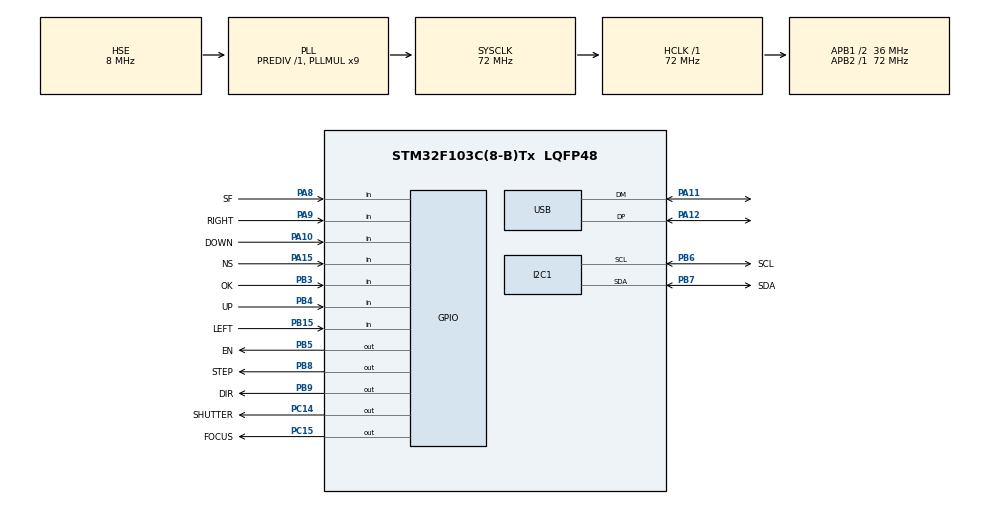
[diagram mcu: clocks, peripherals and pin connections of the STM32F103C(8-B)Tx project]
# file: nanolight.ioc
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Mcu.Family=STM32F1
Mcu.Name=STM32F103C(8-B)Tx
Mcu.Package=LQFP48
NVIC.PriorityGroup=NVIC_PRIORITYGROUP_4
NVIC.TIM3_IRQn=true\:2\:0\:true\:false\:true\:true\:true\:true
NVIC.USB_HP_CAN1_TX_IRQn=true\:1\:0\:true\:false\:true\:true\:true\:true
NVIC.USB_LP_CAN1_RX0_IRQn=true\:1\:0\:true\:false\:true\:true\:true\:true
PA10.GPIO_Label=DOWN
PA10.GPIO_PuPd=GPIO_PULLUP
PA10.Signal=GPIO_Input
PA11.Mode=Device
PA11.Signal=USB_DM
PA12.Mode=Device
PA12.Signal=USB_DP
PA13.Mode=Serial_Wire
PA13.Signal=SYS_JTMS-SWDIO
PA14.Mode=Serial_Wire
PA14.Signal=SYS_JTCK-SWCLK
PA15.GPIO_Label=NS
PA15.GPIO_PuPd=GPIO_PULLUP
PA15.Signal=GPIO_Input
PA8.GPIO_Label=SF
PA8.GPIO_PuPd=GPIO_PULLUP
PA8.Signal=GPIO_Input
PA9.GPIO_Label=RIGHT
PA9.GPIO_PuPd=GPIO_PULLUP
PA9.Signal=GPIO_Input
PB15.GPIO_Label=LEFT
PB15.GPIO_PuPd=GPIO_PULLUP
PB15.Signal=GPIO_Input
PB3.GPIO_Label=OK
PB3.GPIO_PuPd=GPIO_PULLUP
PB3.Signal=GPIO_Input
PB4.GPIO_Label=UP
PB4.GPIO_PuPd=GPIO_PULLUP
PB4.Signal=GPIO_Input
PB5.GPIO_Label=EN
PB5.Signal=GPIO_Output
PB6.GPIO_Label=SCL
PB6.Mode=I2C
PB6.Signal=I2C1_SCL
PB7.GPIO_Label=SDA
PB7.Mode=I2C
PB7.Signal=I2C1_SDA
PB8.GPIO_Label=STEP
PB8.Signal=GPIO_Output
PB9.GPIO_Label=DIR
PB9.Signal=GPIO_Output
PC14-OSC32_IN.GPIO_Label=SHUTTER
PC14-OSC32_IN.Signal=GPIO_Output
PC15-OSC32_OUT.GPIO_Label=FOCUS
PC15-OSC32_OUT.Signal=GPIO_Output
PD0-OSC_IN.Mode=HSE-External-Oscillator
PD0-OSC_IN.Signal=RCC_OSC_IN
PD1-OSC_OUT.Mode=HSE-External-Oscillator
PD1-OSC_OUT.Signal=RCC_OSC_OUT
ProjectManager.HeapSize=0x200
ProjectManager.StackSize=0x400
ProjectManager.TargetToolchain=CMake
RCC.AHBFreq_Value=72000000
RCC.APB1CLKDivider=RCC_HCLK_DIV2
RCC.APB1Freq_Value=36000000
RCC.APB1TimFreq_Value=72000000
RCC.APB2Freq_Value=72000000
RCC.APB2TimFreq_Value=72000000
RCC.HCLKFreq_Value=72000000
RCC.PLLMUL=RCC_PLL_MUL9
RCC.PLLSourceVirtual=RCC_PLLSOURCE_HSE
RCC.SYSCLKFreq_VALUE=72000000
RCC.SYSCLKSource=RCC_SYSCLKSOURCE_PLLCLK
RCC.USBFreq_Value=48000000
RCC.USBPrescaler=RCC_USBCLKSOURCE_PLL_DIV1_5
TIM3.Period=999
TIM3.Prescaler=71
USB_DEVICE.CLASS_NAME_FS=CDC
USB_DEVICE.VirtualMode=Cdc
USB_DEVICE.VirtualModeFS=Cdc_FS
VP_TIM3_VS_ClockSourceINT.Mode=Internal
VP_USB_DEVICE_VS_USB_DEVICE_CDC_FS.Mode=CDC_FS
board=custom

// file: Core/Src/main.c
/* USER CODE BEGIN Header */
/**
  ******************************************************************************
  * @file           : main.c
  * @brief          : NanoLight 应用入口与前台调度循环。
  *
  * 外设初始化由 STM32CubeMX 生成；应用模块随后初始化，确保从 Flash
  * 恢复对焦位置后再启动 TIM3 步进中断。
  ******************************************************************************
  * @attention
  *
  * Copyright (c) 2026 STMicroelectronics.
  * All rights reserved.
  *
  * This software is licensed under terms that can be found in the LICENSE file
  * in the root directory of this software component.
  * If no LICENSE file comes with this software, it is provided AS-IS.
  *
  ******************************************************************************
  */
/* USER CODE END Header */
#include "main.h"
#include "i2c.h"
#include "tim.h"
#include "usb_device.h"
#include "gpio.h"

/* USER CODE BEGIN Includes */
#include "focuser_protocol.h"
#include "focuser_motor.h"
#include "focuser_ui.h"
#include "app_config.h"
/* USER CODE END Includes */

void SystemClock_Config(void);

int main(void)
{

  /* MCU Configuration--------------------------------------------------------*/

  /* Reset of all peripherals, Initializes the Flash interface and the Systick. */
  HAL_Init();

  /* Configure the system clock */
  SystemClock_Config();

  /* Initialize all configured peripherals */
  MX_GPIO_Init();
  MX_TIM3_Init();
  MX_USB_DEVICE_Init();
  MX_I2C1_Init();
  /* USER CODE BEGIN 2 */
  App_Init();
  RFCP_Init();
  Motor_Init();
  HAL_Delay(500);
  UI_Init();
  /* USER CODE END 2 */

  /* 前台循环：USB 协议、按键 UI、模式动作和电机周期参数。 */
  while (1)
  {

    /* USER CODE BEGIN 3 */
    RFCP_Process();
    UI_Turn();
    Set_Period();
    Shutter_EQ_Run();
    Shutter_Gimbal_Run();
    Focuser_Run();
  }
  /* USER CODE END 3 */
}

void SystemClock_Config(void)
{
  RCC_OscInitTypeDef RCC_OscInitStruct = {0};
  RCC_ClkInitTypeDef RCC_ClkInitStruct = {0};
  RCC_PeriphCLKInitTypeDef PeriphClkInit = {0};

  /** Initializes the RCC Oscillators according to the specified parameters
  * in the RCC_OscInitTypeDef structure.
  */
  RCC_OscInitStruct.OscillatorType = RCC_OSCILLATORTYPE_HSE;
  RCC_OscInitStruct.HSEState = RCC_HSE_ON;
  RCC_OscInitStruct.HSEPredivValue = RCC_HSE_PREDIV_DIV1;
  RCC_OscInitStruct.HSIState = RCC_HSI_ON;
  RCC_OscInitStruct.PLL.PLLState = RCC_PLL_ON;
  RCC_OscInitStruct.PLL.PLLSource = RCC_PLLSOURCE_HSE;
  RCC_OscInitStruct.PLL.PLLMUL = RCC_PLL_MUL9;
  if (HAL_RCC_OscConfig(&RCC_OscInitStruct) != HAL_OK)
  {
    Error_Handler();
  }

  /** Initializes the CPU, AHB and APB buses clocks
  */
  RCC_ClkInitStruct.ClockType = RCC_CLOCKTYPE_HCLK|RCC_CLOCKTYPE_SYSCLK
                              |RCC_CLOCKTYPE_PCLK1|RCC_CLOCKTYPE_PCLK2;
  RCC_ClkInitStruct.SYSCLKSource = RCC_SYSCLKSOURCE_PLLCLK;
  RCC_ClkInitStruct.AHBCLKDivider = RCC_SYSCLK_DIV1;
  RCC_ClkInitStruct.APB1CLKDivider = RCC_HCLK_DIV2;
  RCC_ClkInitStruct.APB2CLKDivider = RCC_HCLK_DIV1;

  if (HAL_RCC_ClockConfig(&RCC_ClkInitStruct, FLASH_LATENCY_2) != HAL_OK)
  {
    Error_Handler();
  }
  PeriphClkInit.PeriphClockSelection = RCC_PERIPHCLK_USB;
  PeriphClkInit.UsbClockSelection = RCC_USBCLKSOURCE_PLL_DIV1_5;
  if (HAL_RCCEx_PeriphCLKConfig(&PeriphClkInit) != HAL_OK)
  {
    Error_Handler();
  }
}

void Error_Handler(void)
{
  /* USER CODE BEGIN Error_Handler_Debug */
  /* User can add his own implementation to report the HAL error return state */
  HAL_GPIO_WritePin(FOCUS_GPIO_Port, FOCUS_Pin, GPIO_PIN_RESET);
  HAL_GPIO_WritePin(SHUTTER_GPIO_Port, SHUTTER_Pin, GPIO_PIN_RESET);
  __disable_irq();
  while (1)
  {
  }
  /* USER CODE END Error_Handler_Debug */
}
